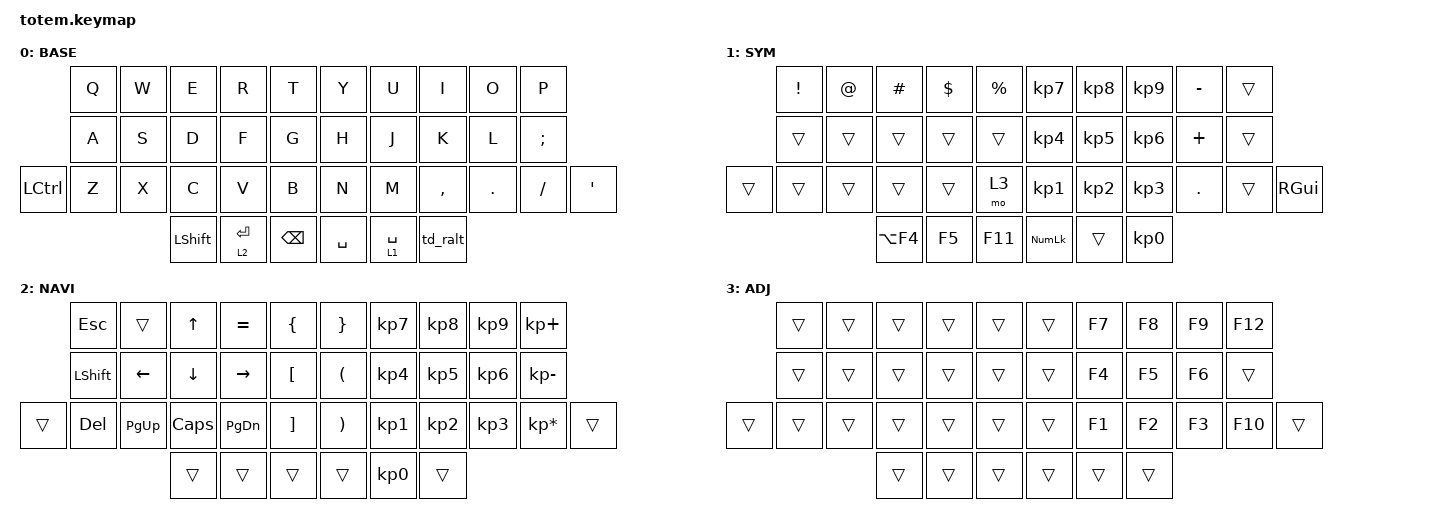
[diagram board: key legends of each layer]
//
//                                                        ▀▀▀▀▀     ▀▀▀▀▀          ▀▀█▀▀
//                                                        ▄▀▀▀▄  ▄  ▄▀▀▀▄  ▄  ▄▀▀▀▄  █  ▄▀▀▀▄
//                                                        █   █  █  █   █  █  █   █  █  █   █
//                                                         ▀▀▀   █   ▀▀▀   █   ▀▀▀   ▀   ▀▀▀
//                                                               █      ▄▄▄█▄▄▄    █   █  
//                                                               ▀      █  █  █     █▄█
//                                                             ▀▀▀▀▀    █  █  █      ▀
//                                                                      ▀  ▀  ▀
//
// ▄▄▄▄▄▄▄▄▄▄▄▄▄▄▄▄▄▄▄▄▄▄▄▄▄▄▄▄▄▄▄▄▄▄▄▄▄▄▄▄▄▄▄▄▄▄▄▄▄▄▄▄▄▄▄▄▄▄▄▄▄▄▄▄▄▄▄▄▄▄▄▄▄▄▄▄▄▄▄▄▄▄▄▄▄▄▄▄▄▄▄▄▄▄▄▄▄▄▄▄▄▄▄▄▄▄▄▄▄▄▄▄▄▄▄▄▄▄▄▄▄▄▄▄▄▄▄▄▄▄▄▄▄▄▄▄▄▄▄▄▄▄▄▄▄▄▄▄▄

#include <behaviors.dtsi>
#include <dt-bindings/zmk/keys.h>

#define BASE 0
#define NAV  1
#define SYM  2
#define ADJ  3
#define TVP1 4
#define TVP2 5

&mt {
    quick-tap-ms = <130>;
    flavor = "tap-preferred";
    tapping-term-ms = <170>;
};

/ {
    combos {
        compatible = "zmk,combos";

        combo_esc {
            timeout-ms = <50>;
            key-positions = <0 1>;
            bindings = <&kp ESC>;
        };

        delete {
            bindings = <&kp DEL>;
            key-positions = <32 34>;
        };
    };

    behaviors {
        td_ralt: td_ralt {
            compatible = "zmk,behavior-tap-dance";
            label = "TD_RALT";
            #binding-cells = <0>;
            tapping-term-ms = <200>;
            bindings = <&kp RIGHT_ALT>, <&kp RCTRL>;
        };
    };

    keymap {
        compatible = "zmk,keymap";

        // ▄▄▄▄▄▄▄▄▄▄▄▄▄▄▄▄▄▄▄▄▄▄▄▄▄▄▄▄▄▄▄▄▄▄▄▄▄▄▄▄▄▄▄▄▄▄▄▄▄▄▄▄▄▄▄▄▄▄▄▄▄▄▄▄▄▄▄▄▄▄▄▄▄▄▄▄▄▄▄▄▄▄▄▄▄▄▄▄▄▄▄▄▄▄▄▄▄▄▄▄▄▄▄▄▄▄▄▄▄▄▄▄▄▄▄▄▄▄▄▄▄▄▄▄▄▄▄▄▄▄▄▄▄▄▄▄▄▄▄▄▄▄▄▄▄▄▄▄▄

        base_layer {
            // ┏━━━━━━━━━━━━━━━━━━━━━━━━━━━━━━━━━━━━━━━┓

            label = "BASE";

            // ┗━━━━━━━━━━━━━━━━━━━━━━━━━━━━━━━━━━━━━━━┛
            //             ┏━━━━━━━━━━━┳━━━━━━━━━━━┳━━━━━━━━━━━┳━━━━━━━━━━━┳━━━━━━━━━━━┓   ┏━━━━━━━━━━━┳━━━━━━━━━━━┳━━━━━━━━━━━┳━━━━━━━━━━━┳━━━━━━━━━━━┓
            //             ┃     Q     ┃     W     ┃     F     ┃     P     ┃     G     ┃   ┃     J     ┃     L     ┃     U     ┃     Y     ┃     ;     ┃
            //             ┣━━━━━━━━━━━╋━━━━━━━━━━━╋━━━━━━━━━━━╋━━━━━━━━━━━╋━━━━━━━━━━━┫   ┣━━━━━━━━━━━╋━━━━━━━━━━━╋━━━━━━━━━━━╋━━━━━━━━━━━╋━━━━━━━━━━━┫
            //             ┃     A     ┃     R     ┃     S     ┃     T     ┃     D     ┃   ┃     H     ┃     N     ┃     E     ┃     I     ┃     O     ┃
            // ┏━━━━━━━━━━━╋━━━━━━━━━━━╋━━━━━━━━━━━╋━━━━━━━━━━━╋━━━━━━━━━━━╋━━━━━━━━━━━┫   ┣━━━━━━━━━━━╋━━━━━━━━━━━╋━━━━━━━━━━━╋━━━━━━━━━━━╋━━━━━━━━━━━╋━━━━━━━━━━━┓
            // ┃     Q     ┃     Z     ┃     X     ┃     C     ┃     V     ┃     B     ┃   ┃     K     ┃     M     ┃     ,     ┃     .     ┃     /     ┃     \     ┃
            // ┗━━━━━━━━━━━┻━━━━━━━━━━━┻━━━━━━━━━━━╋━━━━━━━━━━━╋━━━━━━━━━━━╋━━━━━━━━━━━┫   ┣━━━━━━━━━━━╋━━━━━━━━━━━╋━━━━━━━━━━━╋━━━━━━━━━━━┻━━━━━━━━━━━┻━━━━━━━━━━━┛
            //                                     ┃    DEL    ┃    TAB    ┃    SPC    ┃   ┃   ENTER   ┃           ┃   BSPC    ┃
            //                                     ┗━━━━━━━━━━━┻━━━━━━━━━━━┻━━━━━━━━━━━┛   ┗━━━━━━━━━━━┻━━━━━━━━━━━┻━━━━━━━━━━━┛

            bindings = <
           &kp Q  &kp W  &kp E           &kp R      &kp T            &kp Y      &kp U        &kp I      &kp O    &kp P
           &kp A  &kp S  &kp D           &kp F      &kp G            &kp H      &kp J        &kp K      &kp L    &kp SEMICOLON
&kp LCTRL  &kp Z  &kp X  &kp C           &kp V      &kp B            &kp N      &kp M        &kp COMMA  &kp DOT  &kp FSLH       &kp SQT
                         &kp LEFT_SHIFT  &lt 2 RET  &kp BACKSPACE    &kp SPACE  &lt 1 SPACE  &td_ralt
            >;
        };

        sim_layer {
            // ┏━━━━━━━━━━━━━━━━━━━━━━━━━━━━━━━━━━━━━━━┓

            label = "SYM";

            // ┗━━━━━━━━━━━━━━━━━━━━━━━━━━━━━━━━━━━━━━━┛
            //             ┏━━━━━━━━━━━┳━━━━━━━━━━━┳━━━━━━━━━━━┳━━━━━━━━━━━┳━━━━━━━━━━━┓   ┏━━━━━━━━━━━┳━━━━━━━━━━━┳━━━━━━━━━━━┳━━━━━━━━━━━┳━━━━━━━━━━━┓
            //             ┃     !     ┃     @     ┃     #     ┃     $     ┃     %     ┃   ┃     ˆ     ┃     &     ┃     Ü     ┃     '     ┃     "     ┃
            //             ┣━━━━━━━━━━━╋━━━━━━━━━━━╋━━━━━━━━━━━╋━━━━━━━━━━━╋━━━━━━━━━━━┫   ┣━━━━━━━━━━━╋━━━━━━━━━━━╋━━━━━━━━━━━╋━━━━━━━━━━━╋━━━━━━━━━━━┫
            //             ┃     Ä     ┃           ┃    SZ     ┃           ┃           ┃   ┃   MUTE    ┃   YEN     ┃   EURO    ┃  POUND    ┃     Ö     ┃
            // ┏━━━━━━━━━━━╋━━━━━━━━━━━╋━━━━━━━━━━━╋━━━━━━━━━━━╋━━━━━━━━━━━╋━━━━━━━━━━━┫   ┣━━━━━━━━━━━╋━━━━━━━━━━━╋━━━━━━━━━━━╋━━━━━━━━━━━╋━━━━━━━━━━━╋━━━━━━━━━━━┓
            // ┃           ┃  EMAIL1   ┃  EMAIL2   ┃           ┃           ┃           ┃   ┃   VOL-    ┃   VOL+    ┃   LAST    ┃   NEXT    ┃     \     ┃           ┃
            // ┗━━━━━━━━━━━┻━━━━━━━━━━━┻━━━━━━━━━━━╋━━━━━━━━━━━╋━━━━━━━━━━━╋━━━━━━━━━━━┫   ┣━━━━━━━━━━━╋━━━━━━━━━━━╋━━━━━━━━━━━╋━━━━━━━━━━━┻━━━━━━━━━━━┻━━━━━━━━━━━┛
            //                                     ┃           ┃    GIF    ┃    ADJ    ┃   ┃           ┃           ┃           ┃
            //                                     ┗━━━━━━━━━━━┻━━━━━━━━━━━┻━━━━━━━━━━━┛   ┗━━━━━━━━━━━┻━━━━━━━━━━━┻━━━━━━━━━━━┛

            bindings = <
        &kp EXCL  &kp AT  &kp HASH    &kp DLLR  &kp PRCNT    &kp KP_NUMBER_7  &kp KP_NUMBER_8  &kp KP_NUMBER_9  &kp MINUS   &trans
        &trans    &trans  &trans      &trans    &trans       &kp KP_NUMBER_4  &kp KP_NUMBER_5  &kp KP_NUMBER_6  &kp PLUS    &trans
&trans  &trans    &trans  &trans      &trans    &mo 3        &kp KP_NUMBER_1  &kp KP_NUMBER_2  &kp KP_NUMBER_3  &kp PERIOD  &trans  &kp RIGHT_GUI
                          &kp LA(F4)  &kp F5    &kp F11      &kp KP_NUMLOCK   &trans           &kp KP_NUMBER_0
            >;
        };

        nav_layer {
            // ┏━━━━━━━━━━━━━━━━━━━━━━━━━━━━━━━━━━━━━━━┓

            label = "NAVI";

            // ┗━━━━━━━━━━━━━━━━━━━━━━━━━━━━━━━━━━━━━━━┛
            //             ┏━━━━━━━━━━━┳━━━━━━━━━━━┳━━━━━━━━━━━┳━━━━━━━━━━━┳━━━━━━━━━━━┓   ┏━━━━━━━━━━━┳━━━━━━━━━━━┳━━━━━━━━━━━┳━━━━━━━━━━━┳━━━━━━━━━━━┓
            //             ┃           ┃           ┃     UP    ┃           ┃     {     ┃   ┃     }     ┃     7     ┃     8     ┃     9     ┃     +     ┃
            //             ┣━━━━━━━━━━━╋━━━━━━━━━━━╋━━━━━━━━━━━╋━━━━━━━━━━━╋━━━━━━━━━━━┫   ┣━━━━━━━━━━━╋━━━━━━━━━━━╋━━━━━━━━━━━╋━━━━━━━━━━━╋━━━━━━━━━━━┫
            //             ┃   SHIFT   ┃   LEFT    ┃    DOWN   ┃   RIGHT   ┃     [     ┃   ┃     ]     ┃     4     ┃     5     ┃     6     ┃     -     ┃
            // ┏━━━━━━━━━━━╋━━━━━━━━━━━╋━━━━━━━━━━━╋━━━━━━━━━━━╋━━━━━━━━━━━╋━━━━━━━━━━━┫   ┣━━━━━━━━━━━╋━━━━━━━━━━━╋━━━━━━━━━━━╋━━━━━━━━━━━╋━━━━━━━━━━━╋━━━━━━━━━━━┓
            // ┃           ┃           ┃   P UP    ┃  C LOCK   ┃  P DOWN   ┃     (     ┃   ┃     )     ┃     1     ┃     2     ┃     3     ┃     *     ┃           ┃
            // ┗━━━━━━━━━━━┻━━━━━━━━━━━┻━━━━━━━━━━━╋━━━━━━━━━━━╋━━━━━━━━━━━╋━━━━━━━━━━━┫   ┣━━━━━━━━━━━╋━━━━━━━━━━━╋━━━━━━━━━━━╋━━━━━━━━━━━┻━━━━━━━━━━━┻━━━━━━━━━━━┛
            //                                     ┃           ┃    TAB    ┃    SPC    ┃   ┃    DEL    ┃     0     ┃           ┃
            //                                     ┗━━━━━━━━━━━┻━━━━━━━━━━━┻━━━━━━━━━━━┛   ┗━━━━━━━━━━━┻━━━━━━━━━━━┻━━━━━━━━━━━┛

            bindings = <
        &kp ESC    &trans     &kp UP    &kp EQUAL  &kp LBRC             &kp RBRC              &kp KP_N7  &kp KP_N8  &kp KP_N9  &kp KP_PLUS
        &kp LSHFT  &kp LEFT   &kp DOWN  &kp RIGHT  &kp LBKT             &kp LEFT_PARENTHESIS  &kp KP_N4  &kp KP_N5  &kp KP_N6  &kp KP_MINUS
&trans  &kp DEL    &kp PG_UP  &kp CAPS  &kp PG_DN  &kp RIGHT_BRACKET    &kp RPAR              &kp KP_N1  &kp KP_N2  &kp KP_N3  &kp KP_MULTIPLY  &trans
                              &trans    &trans     &trans               &trans                &kp KP_N0  &trans
            >;
        };

        adjust_layer {
            // ┏━━━━━━━━━━━━━━━━━━━━━━━━━━━━━━━━━━━━━━━┓

            label = "ADJ";

            // ┗━━━━━━━━━━━━━━━━━━━━━━━━━━━━━━━━━━━━━━━┛
            //             ┏━━━━━━━━━━━┳━━━━━━━━━━━┳━━━━━━━━━━━┳━━━━━━━━━━━┳━━━━━━━━━━━┓   ┏━━━━━━━━━━━┳━━━━━━━━━━━┳━━━━━━━━━━━┳━━━━━━━━━━━┳━━━━━━━━━━━┓
            //             ┃   RESET   ┃ BT CLEAR  ┃  OUT TOG  ┃           ┃           ┃   ┃           ┃    F7     ┃    F8     ┃    F9     ┃    F12    ┃
            //             ┣━━━━━━━━━━━╋━━━━━━━━━━━╋━━━━━━━━━━━╋━━━━━━━━━━━╋━━━━━━━━━━━┫   ┣━━━━━━━━━━━╋━━━━━━━━━━━╋━━━━━━━━━━━╋━━━━━━━━━━━╋━━━━━━━━━━━┫
            //             ┃ BOOTLOAD  ┃ BT NEXT   ┃           ┃           ┃           ┃   ┃           ┃    F4     ┃    F5     ┃    F6     ┃    F11    ┃
            // ┏━━━━━━━━━━━╋━━━━━━━━━━━╋━━━━━━━━━━━╋━━━━━━━━━━━╋━━━━━━━━━━━╋━━━━━━━━━━━┫   ┣━━━━━━━━━━━╋━━━━━━━━━━━╋━━━━━━━━━━━╋━━━━━━━━━━━╋━━━━━━━━━━━╋━━━━━━━━━━━┓
            // ┃           ┃           ┃ BT PREV   ┃           ┃           ┃           ┃   ┃           ┃    F1     ┃    F2     ┃    F3     ┃    F10    ┃           ┃
            // ┗━━━━━━━━━━━┻━━━━━━━━━━━┻━━━━━━━━━━━╋━━━━━━━━━━━╋━━━━━━━━━━━╋━━━━━━━━━━━┫   ┣━━━━━━━━━━━╋━━━━━━━━━━━╋━━━━━━━━━━━╋━━━━━━━━━━━┻━━━━━━━━━━━┻━━━━━━━━━━━┛
            //                                     ┃           ┃           ┃           ┃   ┃           ┃           ┃           ┃
            //                                     ┗━━━━━━━━━━━┻━━━━━━━━━━━┻━━━━━━━━━━━┛   ┗━━━━━━━━━━━┻━━━━━━━━━━━┻━━━━━━━━━━━┛

            bindings = <
        &trans  &trans  &trans  &trans  &trans    &trans  &kp F7  &kp F8  &kp F9  &kp F12
        &trans  &trans  &trans  &trans  &trans    &trans  &kp F4  &kp F5  &kp F6  &trans
&trans  &trans  &trans  &trans  &trans  &trans    &trans  &kp F1  &kp F2  &kp F3  &kp F10  &trans
                        &trans  &trans  &trans    &trans  &trans  &trans
            >;
        };
    };
};
